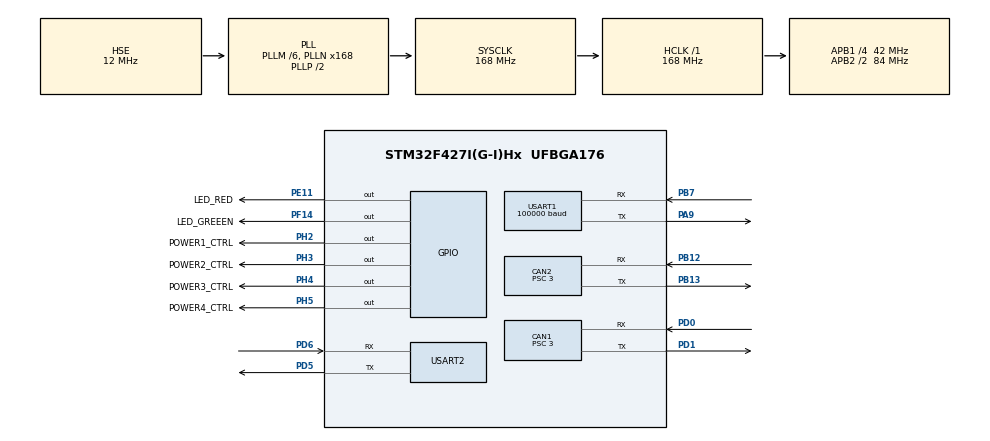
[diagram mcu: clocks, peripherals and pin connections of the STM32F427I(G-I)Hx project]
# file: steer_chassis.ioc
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CAN1.ABOM=ENABLE
CAN1.BS1=CAN_BS1_9TQ
CAN1.BS2=CAN_BS2_4TQ
CAN1.CalculateBaudRate=1000000
CAN1.CalculateTimeBit=1000
CAN1.CalculateTimeQuantum=71.42857142857143
CAN1.Prescaler=3
CAN2.ABOM=ENABLE
CAN2.BS1=CAN_BS1_9TQ
CAN2.BS2=CAN_BS2_4TQ
CAN2.CalculateBaudRate=1000000
CAN2.CalculateTimeBit=1000
CAN2.CalculateTimeQuantum=71.42857142857143
CAN2.Prescaler=3
Dma.Request0=USART1_RX
Dma.Request1=USART2_RX
Dma.USART1_RX.0.Direction=DMA_PERIPH_TO_MEMORY
Dma.USART1_RX.0.FIFOMode=DMA_FIFOMODE_DISABLE
Dma.USART1_RX.0.Instance=DMA2_Stream2
Dma.USART1_RX.0.MemDataAlignment=DMA_MDATAALIGN_BYTE
Dma.USART1_RX.0.MemInc=DMA_MINC_ENABLE
Dma.USART1_RX.0.Mode=DMA_NORMAL
Dma.USART1_RX.0.PeriphDataAlignment=DMA_PDATAALIGN_BYTE
Dma.USART1_RX.0.PeriphInc=DMA_PINC_DISABLE
Dma.USART1_RX.0.Priority=DMA_PRIORITY_VERY_HIGH
Dma.USART2_RX.1.Direction=DMA_PERIPH_TO_MEMORY
Dma.USART2_RX.1.FIFOMode=DMA_FIFOMODE_DISABLE
Dma.USART2_RX.1.Instance=DMA1_Stream5
Dma.USART2_RX.1.MemDataAlignment=DMA_MDATAALIGN_BYTE
Dma.USART2_RX.1.MemInc=DMA_MINC_ENABLE
Dma.USART2_RX.1.Mode=DMA_NORMAL
Dma.USART2_RX.1.PeriphDataAlignment=DMA_PDATAALIGN_BYTE
Dma.USART2_RX.1.PeriphInc=DMA_PINC_DISABLE
Dma.USART2_RX.1.Priority=DMA_PRIORITY_LOW
Mcu.Family=STM32F4
Mcu.Name=STM32F427I(G-I)Hx
Mcu.Package=UFBGA176
NVIC.CAN1_RX0_IRQn=true\:0\:0\:false\:false\:true\:true\:true\:true
NVIC.CAN1_TX_IRQn=true\:0\:0\:false\:false\:true\:true\:true\:true
NVIC.CAN2_RX1_IRQn=true\:0\:0\:false\:false\:true\:true\:true\:true
NVIC.CAN2_TX_IRQn=true\:0\:0\:false\:false\:true\:true\:true\:true
NVIC.DMA1_Stream5_IRQn=true\:0\:0\:false\:false\:true\:false\:true\:true
NVIC.DMA2_Stream2_IRQn=true\:0\:0\:false\:false\:true\:false\:true\:true
NVIC.PriorityGroup=NVIC_PRIORITYGROUP_4
NVIC.USART2_IRQn=true\:0\:0\:false\:false\:true\:true\:true\:true
PA13.Mode=Serial_Wire
PA13.Signal=SYS_JTMS-SWDIO
PA14.Mode=Serial_Wire
PA14.Signal=SYS_JTCK-SWCLK
PA9.Mode=Asynchronous
PA9.Signal=USART1_TX
PB12.Mode=CAN_Activate
PB12.Signal=CAN2_RX
PB13.Mode=CAN_Activate
PB13.Signal=CAN2_TX
PB7.Mode=Asynchronous
PB7.Signal=USART1_RX
PD0.Mode=CAN_Activate
PD0.Signal=CAN1_RX
PD1.Mode=CAN_Activate
PD1.Signal=CAN1_TX
PD5.Mode=Asynchronous
PD5.Signal=USART2_TX
PD6.Mode=Asynchronous
PD6.Signal=USART2_RX
PE11.GPIO_Label=LED_RED
PE11.Signal=GPIO_Output
PF14.GPIO_Label=LED_GREEEN
PF14.Signal=GPIO_Output
PH0/OSC_IN.Mode=HSE-External-Oscillator
PH0/OSC_IN.Signal=RCC_OSC_IN
PH1/OSC_OUT.Mode=HSE-External-Oscillator
PH1/OSC_OUT.Signal=RCC_OSC_OUT
PH2.GPIO_Label=POWER1_CTRL
PH2.Signal=GPIO_Output
PH3.GPIO_Label=POWER2_CTRL
PH3.Signal=GPIO_Output
PH4.GPIO_Label=POWER3_CTRL
PH4.Signal=GPIO_Output
PH5.GPIO_Label=POWER4_CTRL
PH5.Signal=GPIO_Output
ProjectManager.HeapSize=0x200
ProjectManager.StackSize=0x400
ProjectManager.TargetToolchain=STM32CubeIDE
RCC.48MHZClocksFreq_Value=84000000
RCC.AHBFreq_Value=168000000
RCC.APB1CLKDivider=RCC_HCLK_DIV4
RCC.APB1Freq_Value=42000000
RCC.APB1TimFreq_Value=84000000
RCC.APB2CLKDivider=RCC_HCLK_DIV2
RCC.APB2Freq_Value=84000000
RCC.APB2TimFreq_Value=168000000
RCC.CortexFreq_Value=168000000
RCC.HCLKFreq_Value=168000000
RCC.HSE_VALUE=12000000
RCC.HSI_VALUE=16000000
RCC.LSE_VALUE=32768
RCC.PLLM=6
RCC.PLLN=168
RCC.PLLSourceVirtual=RCC_PLLSOURCE_HSE
RCC.SYSCLKFreq_VALUE=168000000
RCC.SYSCLKSource=RCC_SYSCLKSOURCE_PLLCLK
RCC.VCOOutputFreq_Value=336000000
USART1.BaudRate=100000
USART1.VirtualMode=VM_ASYNC
USART1.WordLength=WORDLENGTH_9B
USART2.VirtualMode=VM_ASYNC
board=custom

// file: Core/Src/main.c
/* USER CODE BEGIN Header */
/**
  ******************************************************************************
  * @file           : main.c
  * @brief          : Main program body
  ******************************************************************************
  * @attention
  *
  * Copyright (c) 2024 STMicroelectronics.
  * All rights reserved.
  *
  * This software is licensed under terms that can be found in the LICENSE file
  * in the root directory of this software component.
  * If no LICENSE file comes with this software, it is provided AS-IS.
  *
  ******************************************************************************
  */
/* USER CODE END Header */
#include "main.h"
#include "can.h"
#include "dma.h"
#include "usart.h"
#include "gpio.h"

/* USER CODE BEGIN Includes */
#include "mycan.h"
#include "pid.h"
#include "refree.h"
#include "DR16.h"
#include "chassis.h"
#include "string.h"
#include "stdlib.h"
#include "supercap.h"

/* USER CODE END Includes */

void SystemClock_Config(void);

/* USER CODE BEGIN 0 */
uint8_t UART_RECV[18];
uint8_t UART_REFREE[256];
extern  RC_Ctrl RC_CtrlData;
extern uint16_t con_pitch;
extern  Run_Data run;
 int16_t send2C;
extern power_heat_data_t power_heat_data;

/* USER CODE END 0 */

int main(void)
{

  /* MCU Configuration--------------------------------------------------------*/

  /* Reset of all peripherals, Initializes the Flash interface and the Systick. */
  HAL_Init();

  /* Configure the system clock */
  SystemClock_Config();

  /* Initialize all configured peripherals */
  MX_GPIO_Init();
  MX_DMA_Init();
  MX_CAN1_Init();
  MX_CAN2_Init();
  MX_USART1_UART_Init();
  MX_USART2_UART_Init();
  /* USER CODE BEGIN 2 */
    HAL_GPIO_WritePin(GPIOH, POWER1_CTRL_Pin|POWER2_CTRL_Pin|POWER3_CTRL_Pin|POWER4_CTRL_Pin, GPIO_PIN_SET);
    my_can1_init();
    my_can2_init();
    all_pid_init();
    RC_Init();
   referee_init();

  /* USER CODE END 2 */

  /* Infinite loop */
  while (1)
  {

    /* USER CODE BEGIN 3 */
      RC_Robot_Ctrl(&run);

      con_pitch=msp(RC_CtrlData.rc.ch1-1024, 0, 650,126,205);//
      send2C=msp(RC_CtrlData.rc.ch0-1024, -670, 670,0,360);
      send_msg( send2C,con_pitch,RC_CtrlData.rc.s1,RC_CtrlData.rc.s2);
      send( send2C,con_pitch,RC_CtrlData.rc.s1,RC_CtrlData.rc.s2);
      send2supercap(power_heat_data.chassis_power,power_heat_data.chassis_power,
           power_heat_data.chassis_power,power_heat_data.chassis_power);
      HAL_Delay(1);
  }
  /* USER CODE END 3 */
}

void SystemClock_Config(void)
{
  RCC_OscInitTypeDef RCC_OscInitStruct = {0};
  RCC_ClkInitTypeDef RCC_ClkInitStruct = {0};

  /** Configure the main internal regulator output voltage
  */
  __HAL_RCC_PWR_CLK_ENABLE();
  __HAL_PWR_VOLTAGESCALING_CONFIG(PWR_REGULATOR_VOLTAGE_SCALE1);

  /** Initializes the RCC Oscillators according to the specified parameters
  * in the RCC_OscInitTypeDef structure.
  */
  RCC_OscInitStruct.OscillatorType = RCC_OSCILLATORTYPE_HSE;
  RCC_OscInitStruct.HSEState = RCC_HSE_ON;
  RCC_OscInitStruct.PLL.PLLState = RCC_PLL_ON;
  RCC_OscInitStruct.PLL.PLLSource = RCC_PLLSOURCE_HSE;
  RCC_OscInitStruct.PLL.PLLM = 6;
  RCC_OscInitStruct.PLL.PLLN = 168;
  RCC_OscInitStruct.PLL.PLLP = RCC_PLLP_DIV2;
  RCC_OscInitStruct.PLL.PLLQ = 4;
  if (HAL_RCC_OscConfig(&RCC_OscInitStruct) != HAL_OK)
  {
    Error_Handler();
  }

  /** Initializes the CPU, AHB and APB buses clocks
  */
  RCC_ClkInitStruct.ClockType = RCC_CLOCKTYPE_HCLK|RCC_CLOCKTYPE_SYSCLK
                              |RCC_CLOCKTYPE_PCLK1|RCC_CLOCKTYPE_PCLK2;
  RCC_ClkInitStruct.SYSCLKSource = RCC_SYSCLKSOURCE_PLLCLK;
  RCC_ClkInitStruct.AHBCLKDivider = RCC_SYSCLK_DIV1;
  RCC_ClkInitStruct.APB1CLKDivider = RCC_HCLK_DIV4;
  RCC_ClkInitStruct.APB2CLKDivider = RCC_HCLK_DIV2;

  if (HAL_RCC_ClockConfig(&RCC_ClkInitStruct, FLASH_LATENCY_5) != HAL_OK)
  {
    Error_Handler();
  }
}

/* USER CODE BEGIN 4 */
void HAL_UARTEx_RxEventCallback(UART_HandleTypeDef *huart, uint16_t Size)
{
    RemoteDataProcess(UART_RECV,&RC_CtrlData);
   if( huart==&huart1)
   {
       HAL_UARTEx_ReceiveToIdle_DMA(&huart1, UART_RECV, 18);
       __HAL_DMA_DISABLE_IT(huart1.hdmarx, DMA_IT_HT);
   }
    if( huart==&huart2) {

        RefereeCallback();
    }
}

/* USER CODE END 4 */

void Error_Handler(void)
{
  __disable_irq();
  while (1)
  {
  }
}
